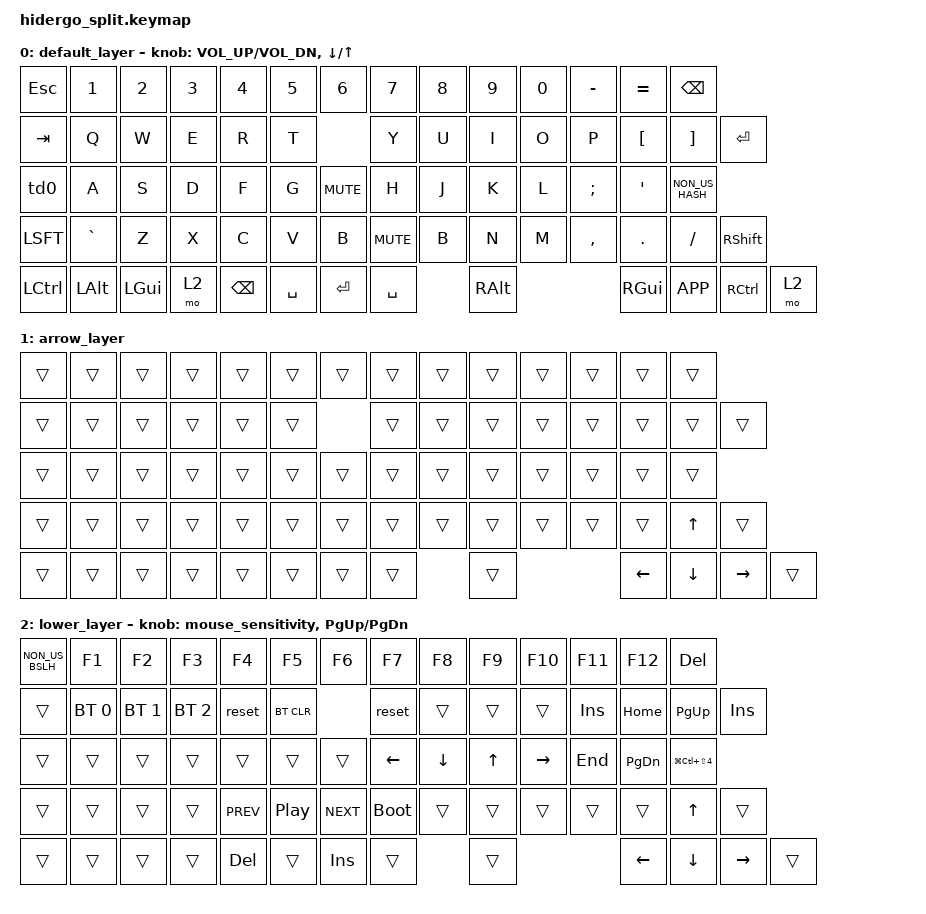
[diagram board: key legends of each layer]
#include <behaviors.dtsi>
#include <dt-bindings/zmk/keys.h>
#include <dt-bindings/zmk/bt.h>
#include <dt-bindings/zmk/ext_power.h>
#include <dt-bindings/zmk/mouse.h>

/ {

	behaviors {
        td0: tap_dance_0 {
            compatible = "zmk,behavior-tap-dance";
            label = "TAP_DANCE_0";
            #binding-cells = <0>;
            tapping-term-ms = <200>;
            bindings = <&mo 2>, <&kp CAPSLOCK>;
        };
		td1: tap_dance_1 {
            compatible = "zmk,behavior-tap-dance";
            label = "TAP_DANCE_1";
            #binding-cells = <0>;
            tapping-term-ms = <200>;
            bindings = <&mo 2>, <&tog 1>;
        };

        mouse_sensitivity: mouse_sensitivity {
            compatible = "zmk,behavior-sensor-rotate";
            label = "mouse_sensitivity";
            #sensor-binding-cells = <0>;
            tap-ms = <5>;
            bindings = <&msens 8>, <&msens 248>;
        };
    
    };

	keymap {
		compatible = "zmk,keymap";

		default_layer {
// --------------------------------------------------------------------------------------------------------------------------
// |  ESC   |  1  |  2  |  3   |  4   |  5   |  6   |               |  7   |  8    |  9    |  0   |   +   |   ´   | BSPC       |
// |  TAB   |  Q  |  W  |  E   |  R   |  T   |                      |  Y   |  U    |  I    |  O   |   P   |   Å   | ¨  | ENTER |
// |  MO    |  A  |  S  |  D   |  F   |  G   |                      |  H   |  J    |  K    |  L   |   Ö   |   Ä   | *     |    |
// | SHIFT  | <   |  Z  |  X   |  C   |  V   |  B   |        |  B   |  N   |  M    |  ,    |  .   |   -   |     SHIFT          |
// | CTRL   | GUI | ALT | GUI  | MO   |                             | SPCE         | ALTGR | MO   | GUI  |  CTRL  | MO        |
//                                    | BSPC |
//                                     | SPACE| ENTER|		
            bindings = <
&kp ESC     &kp N1          &kp N2      &kp N3  &kp N4  	&kp N5  	&kp N6          &kp N7  		&kp N8  	&kp N9  		&kp N0      &kp MINUS   &kp EQUAL   &kp BSPC    
&kp TAB     &kp Q           &kp W       &kp E   &kp R   	&kp T                   	&kp Y   		&kp U   	&kp I       	&kp O       &kp P       &kp LBKT    &kp RBKT   						&kp RET 
&td0        &kp A           &kp S       &kp D   &kp F   	&kp G       &kp C_MUTE      &kp H   		&kp J   	&kp K       	&kp L      	&kp SEMI    &kp SQT     &kp NON_US_HASH 
&kp LSFT    &kp GRAVE       &kp Z       &kp X   &kp C   	&kp V   	&kp B           &kp C_MUTE   	&kp B   	&kp N   		&kp M   	&kp COMMA   &kp DOT    	&kp FSLH    					&kp RSHIFT     
&kp LCTRL   &kp LALT        &kp LGUI    &mo 2   &kp BSPC 	&kp SPACE 	&kp RET         &kp SPACE       			&kp RALT    							&kp RGUI    &kp K_APP   &kp RCTRL 			&mo 2                                	
			>;

			sensor-bindings = <&inc_dec_kp C_VOL_UP C_VOL_DN &inc_dec_kp DOWN_ARROW UP_ARROW>;
		};

		arrow_layer {
			bindings = <
&trans      &trans          &trans      &trans   &trans      	&trans  		&trans      	&trans  		&trans      &trans     	&trans      	&trans     	&trans      	&trans    
&trans      &trans          &trans      &trans   &trans 		&trans                			&trans   		&trans   	&trans      &trans        	&trans      &trans        	&trans       		  &trans 
&trans      &trans          &trans      &trans   &trans   		&trans          &trans      	&trans   		&trans   	&trans      &trans        	&trans      &trans        	&trans 
&trans      &trans          &trans      &trans   &trans   		&trans   		&trans       	&trans   	&trans   	&trans      &trans        	&trans      &trans		 	&kp UP        			  &trans     
&trans      &trans          &trans      &trans   &trans  		&trans  		&trans     		&trans         			 	&trans      						   	&kp LEFT      	&kp DOWN  	&kp RIGHT     &trans 
                                                                                                          	
			>;
		};
		lower_layer {
			bindings = <
&kp NON_US_BSLH   &kp F1          &kp  F2     		&kp  F3  		&kp  F4  		&kp  F5  		&kp  F6      	&kp  F7  		&kp  F8  &kp  F9     &kp  F10      &kp F11     &kp F12       &kp DELETE    
&trans  	&bt BT_SEL 0    &bt BT_SEL 1      &bt BT_SEL 2   	&reset 			&bt BT_CLR                			&reset   		&trans   &trans      &trans        &kp INSERT  &kp HOME      &kp PG_UP      		  &kp INSERT 
&trans      &trans          &trans      		&trans   		&trans   		&trans          &trans      	   &kp LEFT   		&kp DOWN   &kp UP    &kp RIGHT     &kp END     &kp PG_DN 	 &kp LG(LC(LS(N4)))
&trans      &trans          &trans      		&trans          &kp C_PREV   	&kp C_PP   		&kp C_NEXT &bootloader   	&trans   &trans      &trans        &trans      &trans		 &kp UP        			  &trans     
&trans      &trans          &trans      		&trans   		&kp DELETE 		&trans 			&kp INSERT    	&trans         			 &trans      						   &kp LEFT      &kp DOWN  	&kp RIGHT     &trans
                                                                                                          	
			>;

			sensor-bindings = <&mouse_sensitivity &inc_dec_kp PG_UP PG_DN>;

			
		};
	};
};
